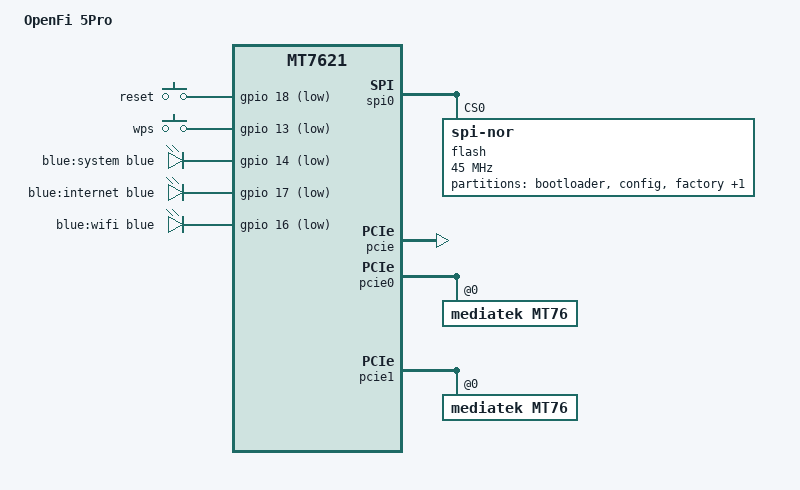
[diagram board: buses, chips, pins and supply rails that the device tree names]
// SPDX-License-Identifier: GPL-2.0-or-later OR MIT

#include "mt7621.dtsi"

#include <dt-bindings/gpio/gpio.h>
#include <dt-bindings/input/input.h>
#include <dt-bindings/leds/common.h>

/ {
	compatible = "openfi,5pro", "mediatek,mt7621-soc";
	model = "OpenFi 5Pro";

	aliases {
		led-boot = &led_system_blue;
		led-failsafe = &led_system_blue;
		led-running = &led_system_blue;
		led-upgrade = &led_system_blue;
	};

	chosen {
		bootargs = "console=ttyS0,115200";
	};

	keys {
		compatible = "gpio-keys";

		reset {
			label = "reset";
			gpios = <&gpio 18 GPIO_ACTIVE_LOW>;
			linux,code = <KEY_RESTART>;
		};

		wps {
			label = "wps";
			gpios = <&gpio 13 GPIO_ACTIVE_LOW>;
			linux,code = <KEY_WPS_BUTTON>;
		};
	};

	leds {
		compatible = "gpio-leds";

		led_system_blue: led-0 {
			label = "blue:system";
			color = <LED_COLOR_ID_BLUE>;
			function = LED_FUNCTION_STATUS;
			gpios = <&gpio 14 GPIO_ACTIVE_LOW>;
		};

		led_internet_blue: led-1 {
			label = "blue:internet";
			color = <LED_COLOR_ID_BLUE>;
			function = LED_FUNCTION_STATUS;
			gpios = <&gpio 17 GPIO_ACTIVE_LOW>;
		};

		led_wifi_blue: led-2 {
			label = "blue:wifi";
			color = <LED_COLOR_ID_BLUE>;
			linux,default-trigger = "phy0tpt";
			gpios = <&gpio 16 GPIO_ACTIVE_LOW>;
		};
	};
};

&spi0 {
	status = "okay";

	flash@0 {
		compatible = "jedec,spi-nor";
		reg = <0>;
		spi-max-frequency = <45000000>;
		broken-flash-reset;

		partitions {
			compatible = "fixed-partitions";
			#address-cells = <1>;
			#size-cells = <1>;

			partition@0 {
				label = "bootloader";
				reg = <0x0 0x30000>;
				read-only;
			};

			partition@30000 {
				label = "config";
				reg = <0x30000 0x10000>;
				read-only;
			};

			factory: partition@40000 {
				label = "factory";
				reg = <0x40000 0x10000>;
				read-only;
			};

			partition@50000 {
				compatible = "denx,uimage";
				label = "firmware";
				reg = <0x50000 0x3f00000>;
			};
		};
	};
};

&pcie {
	status = "okay";
};

&pcie0 {
	mt76@0,0 {
		compatible = "mediatek,mt76";
		reg = <0x0000 0 0 0 0>;
		mediatek,mtd-eeprom = <&factory 0x0>;
		ieee80211-freq-limit = <2400000 2500000>;
	};
};

&pcie1 {
	mt76@0,0 {
		compatible = "mediatek,mt76";
		reg = <0x0000 0 0 0 0>;
		mediatek,mtd-eeprom = <&factory 0x8000>;
		ieee80211-freq-limit = <5000000 6000000>;
	};
};

&gmac0 {
	mtd-mac-address = <&factory 0xe000>;
};

&switch0 {
	ports {
		port@0 {
			status = "okay";
			label = "wan";
			mtd-mac-address = <&factory 0xe006>;
		};

		port@1 {
			status = "okay";
			label = "lan";
		};
	};
};

&state_default {
	gpio {
		groups = "wdt", "jtag";
		function = "gpio";
	};
};
